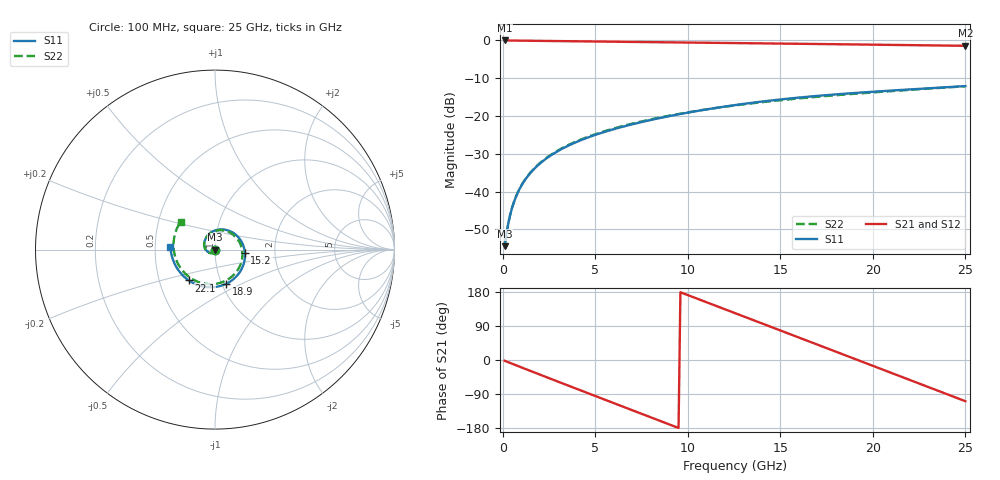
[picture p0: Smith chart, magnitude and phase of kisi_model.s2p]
! kisi B_s8_L1L3_bd_d200: fast channel model (formula impedances, via model), up to 25 GHz
# Hz S RI R 50
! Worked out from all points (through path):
!   250 points, 100 MHz to 25 GHz, reference 50 ohm
!   highest |S21| = -0.02 dB at 100 MHz (marker M1); lowest = -1.4 dB at 25 GHz (marker M2)
!   group delay of S21, straight-line fit = 52 ps
!   lowest |S11| = -54.5 dB at 100 MHz (marker M3), VSWR 1.00, Z = 50.2 - j0.112 ohm
!   |S11| at or under -10 dB: start of sweep to end of sweep
!   |S22| runs from -54.4 to -12.1 dB; largest |S21 - S12| = 0
!   S11 on the Smith chart (normalised r, x): 100 MHz: 1.00, -0.00; 15.2 GHz: 1.40, -0.05; 18.9 GHz: 1.05, -0.42; 22.1 GHz: 0.71, -0.26; 25 GHz: 0.60, +0.02
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1e8  0.00153 -0.00112  0.9971 -0.0349  0.9971 -0.0349  0.00153 -0.00112
3e8  0.00134 -0.00355  0.9909 -0.1028  0.9909 -0.1028  0.00137 -0.00356
6e8  0.000251 -0.0072  0.9732 -0.202  0.9732 -0.202  0.000333 -0.00725
1.3e9  -0.00539 -0.0144  0.8957 -0.4201  0.8957 -0.4201  -0.00517 -0.0147
2.9e9  -0.028 -0.0182  0.555 -0.807  0.555 -0.807  -0.028 -0.0193
4.3e9  -0.0485 -0.00424  0.1372 -0.9615  0.1372 -0.9615  -0.0494 -0.00532
6.2e9  -0.0595 0.0349  -0.4445 -0.8513  -0.4445 -0.8513  -0.0604 0.0365
7.4e9  -0.0508 0.0643  -0.7312 -0.6122  -0.7312 -0.6122  -0.0486 0.0681
8.4e9  -0.0333 0.0867  -0.8837 -0.343  -0.8837 -0.343  -0.0262 0.0907
9.4e9  -0.00702 0.1038  -0.9413 -0.0411  -0.9413 -0.0411  0.00603 0.1051
1.04e10  0.0262 0.1122  -0.8992 0.2612  -0.8992 0.2612  0.0448 0.1069
1.14e10  0.0635 0.1094  -0.7633 0.5322  -0.7633 0.5322  0.085 0.0934
1.26e10  0.1082 0.0888  -0.4988 0.7769  -0.4988 0.7769  0.1264 0.0566
1.39e10  0.1473 0.0449  -0.1343 0.9054  -0.1343 0.9054  0.1512 -0.00418
1.52e10  0.1665 -0.0169  0.2471 0.8729  0.2471 0.8729  0.1451 -0.0751
1.67e10  0.1534 -0.0974  0.6212 0.6484  0.6212 0.6484  0.0958 -0.1486
1.78e10  0.1174 -0.1511  0.8028 0.3868  0.8028 0.3868  0.0355 -0.1829
1.89e10  0.0617 -0.1907  0.8807 0.0805  0.8807 0.0805  -0.0366 -0.1922
2.09e10  -0.0685 -0.2049  0.7391 -0.4634  0.7391 -0.4634  -0.163 -0.1363
2.21e10  -0.146 -0.1716  0.5025 -0.7044  0.5025 -0.7044  -0.2133 -0.0634
2.36e10  -0.2193 -0.09  0.1111 -0.849  0.1111 -0.849  -0.2297 0.0505
2.5e10  -0.2481 0.0134  -0.2728 -0.8026  -0.2728 -0.8026  -0.1914 0.156
